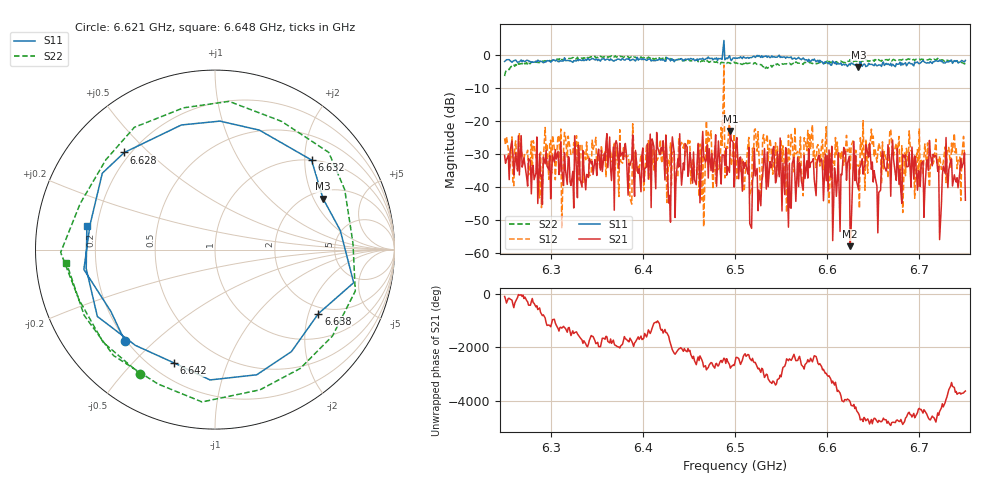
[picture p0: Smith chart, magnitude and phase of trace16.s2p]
# Hz S RI R 50
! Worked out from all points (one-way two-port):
!   401 points, 6.25 GHz to 6.75 GHz, reference 50 ohm
!   highest |S21| = -23.00 dB at 6.495 GHz (marker M1); lowest = -58.0 dB at 6.625 GHz (marker M2)
!   lowest |S11| = -3.5 dB at 6.634 GHz (marker M3), VSWR 4.98, Z = 116 + j119 ohm
!   |S11| at or under -10 dB: nowhere
!   |S22| runs from -6.3 to -0.2 dB; largest |S21 - S12| = 0.74
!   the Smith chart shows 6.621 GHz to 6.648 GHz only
!   S11 on the Smith chart (normalised r, x): 6.621 GHz: 0.19, -0.40; 6.628 GHz: 0.18, +0.42; 6.632 GHz: 1.00, +2.16; 6.638 GHz: 1.76, -2.33; 6.642 GHz: 0.29, -0.66; 6.648 GHz: 0.16, +0.09
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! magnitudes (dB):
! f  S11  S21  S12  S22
! 6.25 GHz  -1.9  -30.4  -25.3  -6.3
! 6.289 GHz  -1.8  -36.7  -29.4  -1.9
! 6.296 GHz  -1.6  -33.7  -26.9  -1.8
! 6.334 GHz  -1.6  -40.0  -27.4  -0.8
! 6.418 GHz  -1.1  -29.9  -30.0  -0.8
! 6.429 GHz  -1.2  -42.6  -33.6  -1.0
! 6.495 GHz  -1.1  -23.0  -29.4  -2.5
! 6.5 GHz  -0.9  -35.9  -33.8  -2.4
! 6.528 GHz  -0.7  -45.7  -43.2  -2.8
! 6.584 GHz  -1.3  -32.1  -21.1  -2.5
! 6.602 GHz  -2.2  -28.8  -44.8  -1.9
! 6.621 GHz  -2.9  -38.0  -24.3  -1.8
! 6.625 GHz  -3.0  -58.0  -35.0  -1.3
! 6.628 GHz  -2.6  -34.5  -26.0  -2.1
! 6.632 GHz  -2.7  -38.3  -33.6  -1.9
! 6.634 GHz  -3.5  -40.7  -33.4  -1.6
! 6.638 GHz  -3.4  -31.4  -30.5  -1.8
! 6.642 GHz  -3.5  -27.1  -25.5  -1.4
! 6.648 GHz  -2.8  -34.6  -22.4  -1.6
! 6.655 GHz  -3.1  -53.9  -29.4  -1.3
! 6.668 GHz  -3.1  -32.1  -22.8  -1.2
! 6.75 GHz  -1.6  -44.0  -29.9  -2.5
